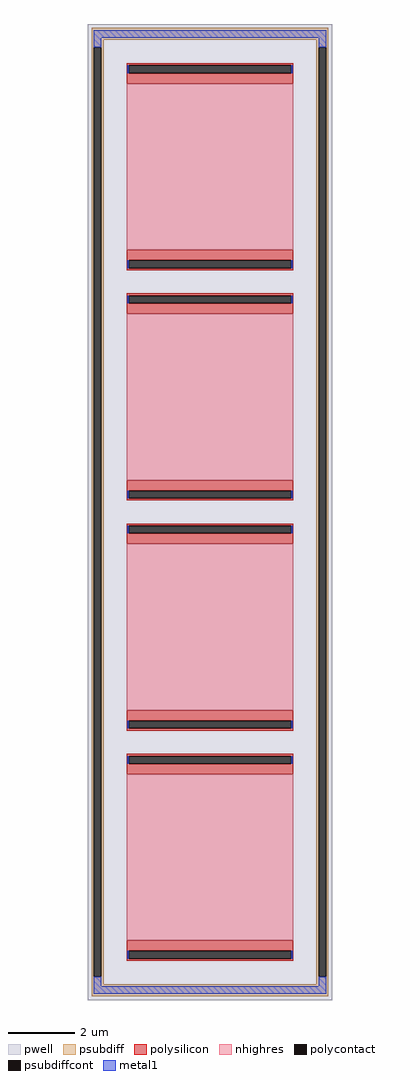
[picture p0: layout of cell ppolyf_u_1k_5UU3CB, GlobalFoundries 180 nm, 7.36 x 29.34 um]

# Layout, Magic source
magic
tech gf180mcuD
magscale 1 10
<< pwell >>
rect -736 -2934 736 2934
<< psubdiff >>
rect -712 2838 712 2910
rect -712 2794 -640 2838
rect -712 -2794 -699 2794
rect -653 -2794 -640 2794
rect 640 2794 712 2838
rect -712 -2838 -640 -2794
rect 640 -2794 653 2794
rect 699 -2794 712 2794
rect 640 -2838 712 -2794
rect -712 -2910 712 -2838
<< psubdiffcont >>
rect -699 -2794 -653 2794
rect 653 -2794 699 2794
<< polysilicon >>
rect -500 2685 500 2698
rect -500 2639 -487 2685
rect 487 2639 500 2685
rect -500 2576 500 2639
rect -500 1513 500 1576
rect -500 1467 -487 1513
rect 487 1467 500 1513
rect -500 1454 500 1467
rect -500 1301 500 1314
rect -500 1255 -487 1301
rect 487 1255 500 1301
rect -500 1192 500 1255
rect -500 129 500 192
rect -500 83 -487 129
rect 487 83 500 129
rect -500 70 500 83
rect -500 -83 500 -70
rect -500 -129 -487 -83
rect 487 -129 500 -83
rect -500 -192 500 -129
rect -500 -1255 500 -1192
rect -500 -1301 -487 -1255
rect 487 -1301 500 -1255
rect -500 -1314 500 -1301
rect -500 -1467 500 -1454
rect -500 -1513 -487 -1467
rect 487 -1513 500 -1467
rect -500 -1576 500 -1513
rect -500 -2639 500 -2576
rect -500 -2685 -487 -2639
rect 487 -2685 500 -2639
rect -500 -2698 500 -2685
<< polycontact >>
rect -487 2639 487 2685
rect -487 1467 487 1513
rect -487 1255 487 1301
rect -487 83 487 129
rect -487 -129 487 -83
rect -487 -1301 487 -1255
rect -487 -1513 487 -1467
rect -487 -2685 487 -2639
<< nhighres >>
rect -500 1576 500 2576
rect -500 192 500 1192
rect -500 -1192 500 -192
rect -500 -2576 500 -1576
<< metal1 >>
rect -699 2851 699 2897
rect -699 2794 -653 2851
rect 653 2794 699 2851
rect -498 2639 -487 2685
rect 487 2639 498 2685
rect -498 1467 -487 1513
rect 487 1467 498 1513
rect -498 1255 -487 1301
rect 487 1255 498 1301
rect -498 83 -487 129
rect 487 83 498 129
rect -498 -129 -487 -83
rect 487 -129 498 -83
rect -498 -1301 -487 -1255
rect 487 -1301 498 -1255
rect -498 -1513 -487 -1467
rect 487 -1513 498 -1467
rect -498 -2685 -487 -2639
rect 487 -2685 498 -2639
rect -699 -2851 -653 -2794
rect 653 -2851 699 -2794
rect -699 -2897 699 -2851
<< properties >>
string FIXED_BBOX -676 -2874 676 2874
string gencell ppolyf_u_1k
string library gf180mcu
string parameters w 5.0 l 5.0 m 4 nx 1 wmin 1.000 lmin 1.000 class resistor rho 1000 val 1.0k dummy 0 dw 0.0 term 0.0 sterm 0.0 caplen 0.4 snake 0 glc 1 grc 1 gtc 0 gbc 0 roverlap 0 endcov 100 full_metal 1 compatible {ppolyf_u_1k ppolyf_u_1k_6p0}
<< end >>
